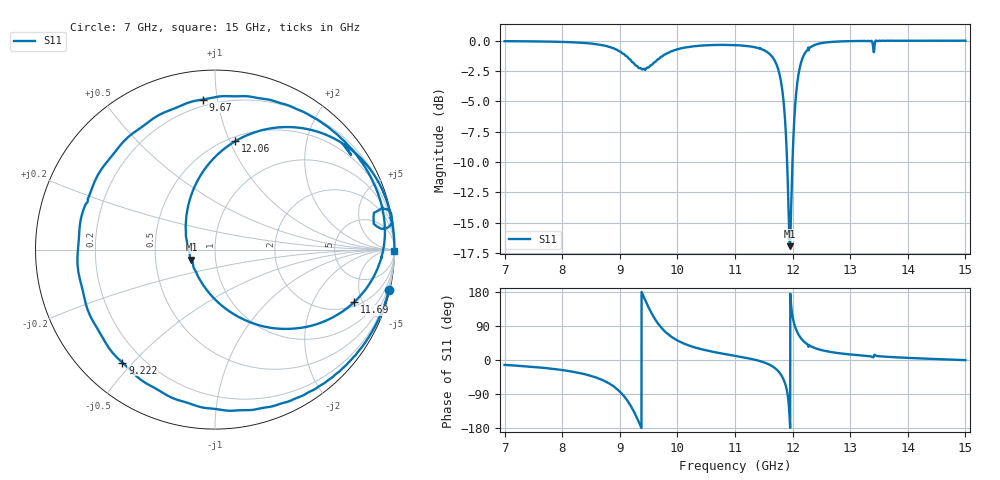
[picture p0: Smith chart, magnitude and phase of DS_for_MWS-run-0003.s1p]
! TOUCHSTONE file generated by CST DESIGN STUDIO
! Date and time: Mon Feb 10 16:48:58 2025
! Project name: C:\Work\MatlabApps\UnitCellType2OptimizationMatlab\CST\unitcell.cst
! Tree item: Tasks\Sweep1\SPara1\S-Parameters
! Header version: 2024
! Port assignment regex: !\s*Touchstone port\s*([0-9]+)\s*=\s*(CST MWS port|CST DES external port|CST DES block port)\s*(.+)\s* \(\"(.*)\"\)(\s*mode\s*([0-9]+))?.*
! Touchstone port assignment:
! Touchstone port 1 = CST DES external port 1 ("")
# GHz S MA R 50
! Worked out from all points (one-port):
!   4001 points, 7 GHz to 15 GHz, reference 50 ohm
!   lowest |S11| = -16.9 dB at 11.95 GHz (marker M1), VSWR 1.33, Z = 38.2 - j4.34 ohm
!   |S11| at or under -10 dB: 11.9 GHz to 12 GHz (92.73 MHz wide, 0.776 % of centre)
!   S11 on the Smith chart (normalised r, x): 7 GHz: 0.20, -8.82; 9.222 GHz: 0.13, -0.47; 9.67 GHz: 0.16, +0.91; 11.69 GHz: 2.29, -4.29; 12.06 GHz: 0.54, +1.05; 15 GHz: open
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7  0.9948 -12.9
8  0.9876 -26.5
8.626  0.9637 -48.3
8.836  0.9407 -63.8
9  0.9038 -83.2
9.118  0.8628 -104.1
9.222  0.8139 -129.4
9.328  0.7714 -162.6
9.416  0.7669 166.7
9.544  0.7934 125.2
9.67  0.8389 94.7
9.822  0.8884 70.0
10  0.9222 51.5
10.38  0.9523 29.9
11  0.9583 11.0
11.458  0.9232 -4.0
11.688  0.8286 -20.7
11.776  0.7219 -34.0
11.852  0.5332 -54.7
11.9  0.3382 -79.2
11.95  0.1423 -157.0
12  0.3291 113.9
12.064  0.6138 79.5
12.178  0.8535 51.5
12.314  0.9413 36.4
13  0.9954 14.7
14  0.9988 5.6
15  0.9995 -0.4
